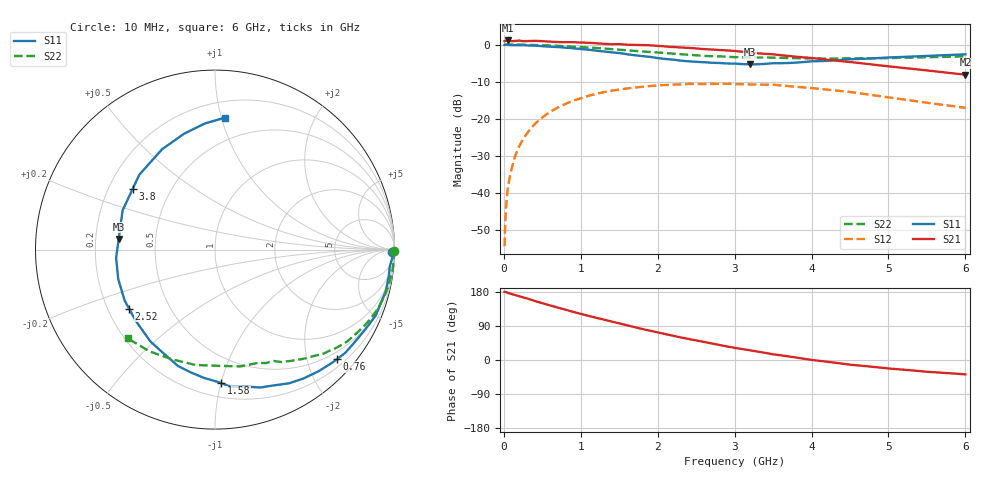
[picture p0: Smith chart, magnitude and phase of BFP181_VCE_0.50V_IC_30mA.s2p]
! Infineon Technologies  Discrete & RF Semiconductors
! BFP181
! VCE = 0.50V,  IC =  30 mA
! Common Emitter S-Parameters:  Jan 2016
# GHz  S  MA  R  50
!  f  S11  S21  S12  S22
! GHz  MAG  ANG  MAG  ANG  MAG  ANG  MAG  ANG
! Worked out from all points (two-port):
!   210 points, 10 MHz to 6 GHz, reference 50 ohm
!   highest |S21| = 1.09 dB at 50 MHz (marker M1); lowest = -8.2 dB at 6 GHz (marker M2)
!   |S21| within 3 dB of the highest: start of sweep to 3.073 GHz
!   lowest |S11| = -5.4 dB at 3.2 GHz (marker M3), VSWR 3.35, Z = 15 + j2.51 ohm
!   |S11| at or under -10 dB: nowhere
!   |S22| runs from -3.8 to 0.0 dB; largest |S21 - S12| = 1.1
!   S11 on the Smith chart (normalised r, x): 10 MHz: 64, -66; 760 MHz: 0.35, -2.58; 1.58 GHz: 0.30, -1.00; 2.52 GHz: 0.29, -0.29; 3.8 GHz: 0.30, +0.30; 6 GHz: 0.32, +1.03
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0.01  0.985 -0.9  1.108 179.8  0.0019 88.6  0.9978 -0.3
0.015  0.9874 -1.0  1.115 179.7  0.0031 90.3  0.9978 -0.5
0.025  0.9896 -1.3  1.125 179.2  0.0054 90.8  0.9977 -0.7
0.05  0.9888 -2.6  1.134 177.1  0.0111 90.2  0.9971 -1.5
0.085  0.9812 -4.7  1.115 175.0  0.0179 85.7  0.9969 -2.5
0.135  0.979 -7.5  1.114 172.0  0.0285 83.4  0.9968 -4.0
0.26  0.978 -14.4  1.107 164.4  0.0547 78.9  0.9929 -7.9
0.46  0.955 -25.7  1.114 152.1  0.0957 70.2  0.9821 -13.9
0.76  0.9138 -41.8  1.075 135.0  0.151 57.8  0.9534 -22.7
1.02  0.8665 -56.6  1.061 120.7  0.1914 47.7  0.9204 -29.7
1.3  0.8084 -71.9  1.023 106.4  0.2275 37.0  0.8823 -37.0
1.58  0.7446 -87.4  0.997 92.5  0.2541 27.9  0.8414 -43.1
2.02  0.652 -114.4  0.955 71.7  0.2819 14.6  0.7778 -51.7
2.52  0.5809 -145.5  0.88 51.0  0.2925 0.4  0.7118 -61.1
2.8  0.5635 -163.1  0.847 39.5  0.2968 -6.7  0.6938 -65.6
3.1  0.5438 179.3  0.797 29.0  0.2908 -14.2  0.672 -71.0
3.2  0.5398 173.7  0.778 25.7  0.2891 -16.3  0.6696 -72.7
3.8  0.5698 143.6  0.684 6.5  0.2687 -28.6  0.6529 -84.0
4.1  0.5964 131.6  0.641 -2.1  0.2521 -34.4  0.6471 -90.5
4.5  0.6324 117.7  0.582 -12.4  0.2288 -41.9  0.6519 -99.7
5.1  0.6742 102.7  0.495 -23.9  0.1871 -47.8  0.6575 -113.6
6  0.7367 85.7  0.391 -38.0  0.1397 -47.1  0.6934 -134.6
